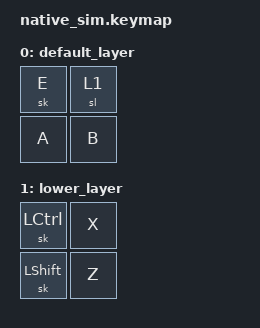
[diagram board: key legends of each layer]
#include <dt-bindings/zmk/keys.h>
#include <behaviors.dtsi>
#include <dt-bindings/zmk/input_mock.h>

/ {
    keymap {
        compatible = "zmk,keymap";

        default_layer {
            bindings = <
                &sk E &sl 1
                &kp A &kp B>;
        };

        lower_layer {
            bindings = <
                &sk LEFT_CONTROL &kp X
                &sk LEFT_SHIFT &kp Z>;
        };
    };
};

&mock_input {
    events = <
        /* press sl lower_layer */
        ZMK_INPUT_MOCK_PRESS(0,1,10)
        /* tap sk LEFT_CONTROL */
        ZMK_INPUT_MOCK_PRESS(0,0,10)
        ZMK_INPUT_MOCK_RELEASE(0,0,10)
        /* tap sk LEFT_SHIFT */
        ZMK_INPUT_MOCK_PRESS(1,0,10)
        ZMK_INPUT_MOCK_RELEASE(1,0,10)
        /* release sl lower_layer */
        ZMK_INPUT_MOCK_RELEASE(0,1,10)
        /* tap A (with left control and left shift enabled) */
        ZMK_INPUT_MOCK_PRESS(1,0,10)
        ZMK_INPUT_MOCK_RELEASE(1,0,10)
        /* tap A (no sticky keys anymore) */
        ZMK_INPUT_MOCK_PRESS(1,0,10)
        ZMK_INPUT_MOCK_RELEASE(1,0,10)
    >;
};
